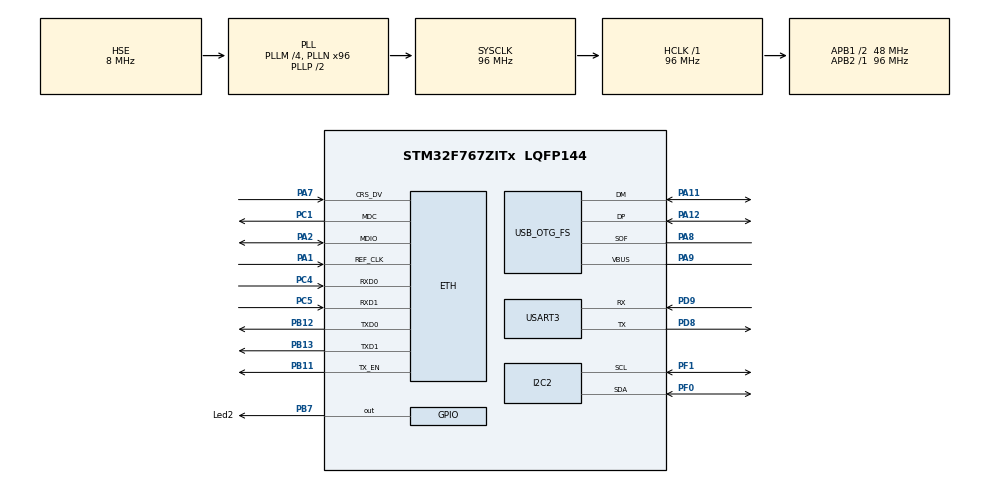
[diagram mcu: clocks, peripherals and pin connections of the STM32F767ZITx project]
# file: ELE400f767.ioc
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Mcu.Family=STM32F7
FREERTOS.Queues01=debugMsgQueue,4,debugMsg,0,Static,debugMsgQueueBuffer,debugMsgQueueControlBlock;pitot_queue,8,float,0,Static,pitot_queueBuffer,pitot_queueControlBlock
RCC.CortexFreq_Value=96000000
I2C2.Timing=0x20303E5D
PA11.Mode=Device_Only
PC14/OSC32_IN.Mode=LSE-External-Oscillator
PC5.Mode=RMII
PB11.Signal=ETH_TX_EN
PB13.Signal=ETH_TXD1
PD9.Mode=Asynchronous
RCC.SYSCLKSource=RCC_SYSCLKSOURCE_PLLCLK
ProjectManager.StackSize=0x400
VP_FREERTOS_VS_CMSIS_V2.Mode=CMSIS_V2
USART3.VirtualMode-Asynchronous=VM_ASYNC
PA12.Signal=USB_OTG_FS_DP
PH0/OSC_IN.Mode=HSE-External-Clock-Source
RCC.HCLKFreq_Value=96000000
RCC.APB2TimFreq_Value=96000000
PH1/OSC_OUT.Signal=RCC_OSC_OUT
PD8.Signal=USART3_TX
RCC.AHBFreq_Value=96000000
NVIC.ETH_IRQn=true\:5\:0\:true\:false\:true\:false\:false\:true
RCC.HSE_VALUE=8000000
PA14.Mode=Serial_Wire
VP_SYS_VS_tim1.Mode=TIM1
PB7.Signal=GPIO_Output
PA8.Signal=USB_OTG_FS_SOF
PH1/OSC_OUT.Mode=HSE-External-Clock-Source
PB7.GPIO_Label=Led2
Mcu.Package=LQFP144
PB12.Mode=RMII
NVIC.TimeBase=TIM1_UP_TIM10_IRQn
PC14/OSC32_IN.Signal=RCC_OSC32_IN
NVIC.TimeBaseIP=TIM1
USB_OTG_FS.VirtualMode=Device_Only
RCC.APB1TimFreq_Value=96000000
PF0.Signal=I2C2_SDA
PC5.Signal=ETH_RXD1
PB13.Mode=RMII
PC4.Mode=RMII
FREERTOS.Tasks01=mqtt_Client,24,6144,Start_mqtt_Client,Default,NULL,Static,mqtt_ClientBuffer,mqtt_ClientControlBlock;pitot_task,16,1024,Start_pitot_task,Default,NULL,Static,pitot_taskBuffer,pitot_taskControlBlock
PA7.Mode=RMII
PC4.Signal=ETH_RXD0
PD9.Signal=USART3_RX
RCC.APB1CLKDivider=RCC_HCLK_DIV2
VP_LWIP_VS_Enabled.Mode=Enabled
PA13.Signal=SYS_JTMS-SWDIO
PF1.Mode=I2C
PA9.Mode=Activate_VBUS
PB11.Mode=RMII
ProjectManager.TargetToolchain=STM32CubeIDE
PA9.Signal=USB_OTG_FS_VBUS
RCC.USBFreq_Value=48000000
PD8.Mode=Asynchronous
PA1.Signal=ETH_REF_CLK
board=custom
RCC.VCOOutputFreq_Value=192000000
PH0/OSC_IN.Signal=RCC_OSC_IN
RCC.APB2Freq_Value=96000000
PA1.Mode=RMII
PF1.Signal=I2C2_SCL
PA13.Mode=Serial_Wire
Mcu.Name=STM32F767ZITx
PA2.Signal=ETH_MDIO
RCC.SYSCLKFreq_VALUE=96000000
ETH.MediaInterface=ETH_MEDIA_INTERFACE_RMII
PA12.Mode=Device_Only
PC15/OSC32_OUT.Mode=LSE-External-Oscillator
PA11.Signal=USB_OTG_FS_DM
PA14.Signal=SYS_JTCK-SWCLK
ProjectManager.HeapSize=0x200
PF0.Mode=I2C
LWIP.Version=v2.1.2_Cube
NVIC.TIM1_UP_TIM10_IRQn=true\:0\:0\:false\:false\:true\:false\:false\:true
RCC.HSI_VALUE=16000000
RCC.PLLQ=4
NVIC.PriorityGroup=NVIC_PRIORITYGROUP_4
RCC.PLLM=4
RCC.PLLN=96
PA2.Mode=RMII
PC15/OSC32_OUT.Signal=RCC_OSC32_OUT
PA8.Mode=Activate_SOF_FS
RCC.APB1Freq_Value=48000000
PC1.Signal=ETH_MDC
PB12.Signal=ETH_TXD0
PC1.Mode=RMII
PA7.Signal=ETH_CRS_DV

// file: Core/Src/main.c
/* USER CODE BEGIN Header */
/**
  ******************************************************************************
  * @file           : main.c
  * @brief          : Main program body
  ******************************************************************************
  * @attention
  *
  * <h2><center>&copy; Copyright (c) 2021 STMicroelectronics.
  * All rights reserved.</center></h2>
  *
  * This software component is licensed by ST under BSD 3-Clause license,
  * the "License"; You may not use this file except in compliance with the
  * License. You may obtain a copy of the License at:
  *                        opensource.org/licenses/BSD-3-Clause
  *
  ******************************************************************************
  */
/* USER CODE END Header */
#include "main.h"
#include "cmsis_os.h"
#include "i2c.h"
#include "lwip.h"
#include "usart.h"
#include "usb_otg.h"
#include "gpio.h"

void SystemClock_Config(void);
void MX_FREERTOS_Init(void);

int main(void)
{

  /* MCU Configuration--------------------------------------------------------*/

  /* Reset of all peripherals, Initializes the Flash interface and the Systick. */
  HAL_Init();

  /* Configure the system clock */
  SystemClock_Config();

  /* Initialize all configured peripherals */
  MX_GPIO_Init();
  MX_I2C2_Init();
  MX_USART3_UART_Init();
  MX_USB_OTG_FS_PCD_Init();
  /* USER CODE BEGIN 2 */

  char *msg = "debut de programme\n\r";

  HAL_UART_Transmit(&huart3, (uint8_t*)msg, strlen(msg), HAL_MAX_DELAY);

  /* USER CODE END 2 */

  /* Init scheduler */
  osKernelInitialize();  /* Call init function for freertos objects (in freertos.c) */
  MX_FREERTOS_Init();
  /* Start scheduler */
  osKernelStart();

  /* We should never get here as control is now taken by the scheduler */
  /* Infinite loop */
  while (1)
  {

  }
}

void SystemClock_Config(void)
{
  RCC_OscInitTypeDef RCC_OscInitStruct = {0};
  RCC_ClkInitTypeDef RCC_ClkInitStruct = {0};
  RCC_PeriphCLKInitTypeDef PeriphClkInitStruct = {0};

  /** Configure LSE Drive Capability
  */
  HAL_PWR_EnableBkUpAccess();
  /** Configure the main internal regulator output voltage
  */
  __HAL_RCC_PWR_CLK_ENABLE();
  __HAL_PWR_VOLTAGESCALING_CONFIG(PWR_REGULATOR_VOLTAGE_SCALE3);
  /** Initializes the RCC Oscillators according to the specified parameters
  * in the RCC_OscInitTypeDef structure.
  */
  RCC_OscInitStruct.OscillatorType = RCC_OSCILLATORTYPE_HSE;
  RCC_OscInitStruct.HSEState = RCC_HSE_BYPASS;
  RCC_OscInitStruct.PLL.PLLState = RCC_PLL_ON;
  RCC_OscInitStruct.PLL.PLLSource = RCC_PLLSOURCE_HSE;
  RCC_OscInitStruct.PLL.PLLM = 4;
  RCC_OscInitStruct.PLL.PLLN = 96;
  RCC_OscInitStruct.PLL.PLLP = RCC_PLLP_DIV2;
  RCC_OscInitStruct.PLL.PLLQ = 4;
  if (HAL_RCC_OscConfig(&RCC_OscInitStruct) != HAL_OK)
  {
    Error_Handler();
  }
  /** Activate the Over-Drive mode
  */
  if (HAL_PWREx_EnableOverDrive() != HAL_OK)
  {
    Error_Handler();
  }
  /** Initializes the CPU, AHB and APB buses clocks
  */
  RCC_ClkInitStruct.ClockType = RCC_CLOCKTYPE_HCLK|RCC_CLOCKTYPE_SYSCLK
                              |RCC_CLOCKTYPE_PCLK1|RCC_CLOCKTYPE_PCLK2;
  RCC_ClkInitStruct.SYSCLKSource = RCC_SYSCLKSOURCE_PLLCLK;
  RCC_ClkInitStruct.AHBCLKDivider = RCC_SYSCLK_DIV1;
  RCC_ClkInitStruct.APB1CLKDivider = RCC_HCLK_DIV2;
  RCC_ClkInitStruct.APB2CLKDivider = RCC_HCLK_DIV1;

  if (HAL_RCC_ClockConfig(&RCC_ClkInitStruct, FLASH_LATENCY_3) != HAL_OK)
  {
    Error_Handler();
  }
  PeriphClkInitStruct.PeriphClockSelection = RCC_PERIPHCLK_USART3|RCC_PERIPHCLK_I2C2
                              |RCC_PERIPHCLK_CLK48;
  PeriphClkInitStruct.Usart3ClockSelection = RCC_USART3CLKSOURCE_PCLK1;
  PeriphClkInitStruct.I2c2ClockSelection = RCC_I2C2CLKSOURCE_PCLK1;
  PeriphClkInitStruct.Clk48ClockSelection = RCC_CLK48SOURCE_PLL;
  if (HAL_RCCEx_PeriphCLKConfig(&PeriphClkInitStruct) != HAL_OK)
  {
    Error_Handler();
  }
}

 /**
  * @brief  Period elapsed callback in non blocking mode
  * @note   This function is called  when TIM1 interrupt took place, inside
  * HAL_TIM_IRQHandler(). It makes a direct call to HAL_IncTick() to increment
  * a global variable "uwTick" used as application time base.
  * @param  htim : TIM handle
  * @retval None
  */
void HAL_TIM_PeriodElapsedCallback(TIM_HandleTypeDef *htim)
{
  if (htim->Instance == TIM1) {
    HAL_IncTick();
  }
}

void Error_Handler(void)
{
  __disable_irq();
  while (1)
  {
  }
}

/************************ (C) COPYRIGHT STMicroelectronics *****END OF FILE****/

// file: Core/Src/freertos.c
/* USER CODE BEGIN Header */
/**
 ******************************************************************************
 * File Name          : freertos.c
 * Description        : Code for freertos applications
 ******************************************************************************
 * @attention
 *
 * <h2><center>&copy; Copyright (c) 2021 STMicroelectronics.
 * All rights reserved.</center></h2>
 *
 * This software component is licensed by ST under Ultimate Liberty license
 * SLA0044, the "License"; You may not use this file except in compliance with
 * the License. You may obtain a copy of the License at:
 *                             www.st.com/SLA0044
 *
 ******************************************************************************
 */
/* USER CODE END Header */

#include "FreeRTOS.h"
#include "task.h"
#include "main.h"
#include "cmsis_os.h"

/* USER CODE BEGIN Includes */
#include <string.h>
#include <errno.h>
#include <stdio.h>

#include "../Inc/usart.h"
#include "../Inc/i2c.h"

#include "lwip/opt.h"
#include "lwip/arch.h"
#include "lwip/api.h"
#include "lwip/inet.h"
#include "lwip/sockets.h"

#include "lwip/tcp.h"

#include "ip_addr.h"

#include "Client_MQTT.h"

#include "debug_interface.h"

#include "pitot.h"
/* USER CODE END Includes */

typedef StaticTask_t osStaticThreadDef_t;
typedef StaticQueue_t osStaticMessageQDef_t;

/* Definitions for mqtt_Client */
osThreadId_t mqtt_ClientHandle;
uint32_t mqtt_ClientBuffer[ 6144 ];
osStaticThreadDef_t mqtt_ClientControlBlock;
const osThreadAttr_t mqtt_Client_attributes = {
		.name = "mqtt_Client",
		.cb_mem = &mqtt_ClientControlBlock,
		.cb_size = sizeof(mqtt_ClientControlBlock),
		.stack_mem = &mqtt_ClientBuffer[0],
		.stack_size = sizeof(mqtt_ClientBuffer),
		.priority = (osPriority_t) osPriorityNormal,
};
/* Definitions for pitot_task */
osThreadId_t pitot_taskHandle;
uint32_t pitot_taskBuffer[ 1024 ];
osStaticThreadDef_t pitot_taskControlBlock;
const osThreadAttr_t pitot_task_attributes = {
		.name = "pitot_task",
		.cb_mem = &pitot_taskControlBlock,
		.cb_size = sizeof(pitot_taskControlBlock),
		.stack_mem = &pitot_taskBuffer[0],
		.stack_size = sizeof(pitot_taskBuffer),
		.priority = (osPriority_t) osPriorityBelowNormal,
};
/* Definitions for debugMsgQueue */
osMessageQueueId_t debugMsgQueueHandle;
uint8_t debugMsgQueueBuffer[ 4 * sizeof( debugMsg ) ];
osStaticMessageQDef_t debugMsgQueueControlBlock;
const osMessageQueueAttr_t debugMsgQueue_attributes = {
		.name = "debugMsgQueue",
		.cb_mem = &debugMsgQueueControlBlock,
		.cb_size = sizeof(debugMsgQueueControlBlock),
		.mq_mem = &debugMsgQueueBuffer,
		.mq_size = sizeof(debugMsgQueueBuffer)
};
/* Definitions for pitot_queue */
osMessageQueueId_t pitot_queueHandle;
uint8_t pitot_queueBuffer[ 8 * sizeof( double ) ];
osStaticMessageQDef_t pitot_queueControlBlock;
const osMessageQueueAttr_t pitot_queue_attributes = {
		.name = "pitot_queue",
		.cb_mem = &pitot_queueControlBlock,
		.cb_size = sizeof(pitot_queueControlBlock),
		.mq_mem = &pitot_queueBuffer,
		.mq_size = sizeof(pitot_queueBuffer)
};

void Start_mqtt_Client(void *argument);
void Start_pitot_task(void *argument);

extern void MX_LWIP_Init(void);
void MX_FREERTOS_Init(void); /* (MISRA C 2004 rule 8.1) */

void MX_FREERTOS_Init(void) {

	/* Create the queue(s) */
	/* creation of debugMsgQueue */
	debugMsgQueueHandle = osMessageQueueNew (4, sizeof(debugMsg), &debugMsgQueue_attributes);

	/* creation of pitot_queue */
	pitot_queueHandle = osMessageQueueNew (8, sizeof(double), &pitot_queue_attributes);

	/* Create the thread(s) */
	/* creation of mqtt_Client */
	mqtt_ClientHandle = osThreadNew(Start_mqtt_Client, NULL, &mqtt_Client_attributes);

	/* creation of pitot_task */
	pitot_taskHandle = osThreadNew(Start_pitot_task, NULL, &pitot_task_attributes);

}

void Start_mqtt_Client(void *argument)
{
	/* init code for LWIP */
	MX_LWIP_Init();
	/* USER CODE BEGIN Start_mqtt_Client */

	//struct netconn * conn;d

	// Connect to server
	//conn  = cMqtt_Connect(10,214,96,60,1883);
	int count=0;

	double avrPressure=0;

	/* Infinite loop */
	for(;;)
	{

		double pressure;

		osStatus_t status_queue = osMessageQueueGet(pitot_queueHandle,&pressure,0,0);
		if(status_queue == osOK){
			char string[40];

			avrPressure+=pressure;
			//cMqtt_Publish(conn, "1/data/1", string, strlen(string));
			count ++;
			if(count>=10){
				sprintf(string, "vitesse(m/s) %.4lf \n\r", avrPressure/10);
				HAL_UART_Transmit(&huart3, (uint8_t*)string, strlen(string), HAL_MAX_DELAY);
				count=0;
				avrPressure=0;
			}

		}

		osDelay(100);
	}
	/* USER CODE END Start_mqtt_Client */
}

/* USER CODE BEGIN Header_Start_pitot_task */
/**
 * @brief Function implementing the pitot_task thread.d
 * @param argument: Not used
 * @retval None
 */
/* USER CODE END Header_Start_pitot_task */
void Start_pitot_task(void *argument)
{
	/* USER CODE BEGIN Start_pitot_task */
	/* Infinite loop */

	double speed;
	for(;;)
	{

		HAL_StatusTypeDef ret = !HAL_OK;
		while(ret != HAL_OK){

			ret = init_pitot(&hi2c2,START_AVERAGE16);

		}

		HAL_GPIO_TogglePin (Led2_GPIO_Port, Led2_Pin);
		osDelay(100);

		if(read_pitot_speed(&hi2c2,&speed))
			osMessageQueuePut(pitot_queueHandle,&speed,0,0);
		/* USER CODE END WHILE */
	}
	/* USER CODE END Start_pitot_task */
}

/************************ (C) COPYRIGHT STMicroelectronics *****END OF FILE****/
